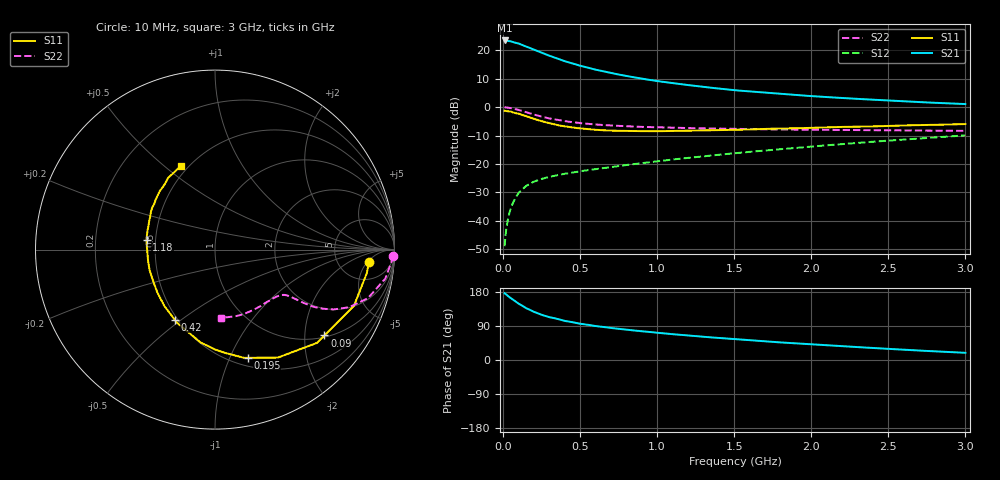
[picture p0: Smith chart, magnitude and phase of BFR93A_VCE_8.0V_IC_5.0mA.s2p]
! Infineon Technologies  Discrete & RF Semiconductors
! BFR93A
! VCE =  8.0 V,  IC =  5.0 mA
! Common Emitter S-Parameters:  Nov 2015
# GHz  S  MA  R  50
!  f  S11  S21  S12  S22
! GHz  MAG  ANG  MAG  ANG  MAG  ANG  MAG  ANG
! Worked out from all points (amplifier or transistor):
!   180 points, 10 MHz to 3 GHz, reference 50 ohm
!   highest |S21| = 23.4 dB at 10 MHz (marker M1)
!   |S21| within 3 dB of that: start of sweep to 190.1 MHz
!   unconditionally stable (mu >= 1): 777.9 MHz to 2.473 GHz
!   at 160 MHz: K = 0.33, MSG = 24.2 dB, |S12| = -27.4 dB
!   at 1.22 GHz: K = 1.11, MAG = 10.7 dB, |S12| = -17.7 dB
!   at 3 GHz: K = 0.93, MSG = 5.5 dB, |S12| = -9.9 dB
!   S11 on the Smith chart (normalised r, x): 10 MHz: 11, -6; 90 MHz: 1.05, -2.51; 195 MHz: 0.58, -1.17; 420 MHz: 0.48, -0.47; 1.18 GHz: 0.45, +0.06; 3 GHz: 0.46, +0.57
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0.01  0.8615 -4.5  14.81 176.3  0.0036 87.3  0.9907 -2.0
0.025  0.8492 -11.0  14.63 171.3  0.0085 82.1  0.9813 -4.8
0.05  0.8352 -22.0  14.3 163.1  0.0167 78.3  0.9626 -9.7
0.09  0.7751 -38.1  13.29 151.9  0.0279 70.0  0.9063 -15.9
0.1  0.7704 -42.4  13.12 148.9  0.0308 68.9  0.894 -17.6
0.15  0.6962 -59.8  11.62 136.6  0.0412 61.8  0.8125 -23.3
0.195  0.6298 -73.2  10.36 128.2  0.0482 57.7  0.7473 -26.4
0.24  0.5761 -85.0  9.231 120.9  0.0536 54.8  0.6911 -28.5
0.26  0.5568 -89.9  8.789 118.1  0.0557 53.9  0.6695 -29.2
0.3  0.5238 -98.8  7.99 113.1  0.0594 52.7  0.6322 -30.2
0.4  0.4594 -117.3  6.405 103.2  0.0673 51.5  0.5645 -31.2
0.42  0.4497 -120.0  6.182 101.9  0.0687 51.5  0.5561 -31.3
0.52  0.4161 -134.4  5.169 94.6  0.0759 51.9  0.5167 -31.7
0.6  0.3992 -144.1  4.548 89.6  0.0813 52.7  0.494 -31.9
0.7  0.3862 -153.8  3.963 84.4  0.0888 53.9  0.4743 -32.5
0.9  0.378 -170.5  3.152 75.8  0.1035 56.1  0.4488 -34.2
1.02  0.3775 -178.6  2.816 71.1  0.1131 57.0  0.4399 -35.6
1.18  0.3849 172.1  2.477 65.4  0.1265 58.2  0.4287 -38.2
1.52  0.3998 156.6  1.96 54.4  0.1562 59.3  0.4126 -44.4
2.02  0.4339 139.2  1.548 40.7  0.2046 59.0  0.3994 -55.8
2.52  0.4693 125.1  1.294 29.0  0.2597 56.5  0.3907 -69.2
3  0.5034 112.4  1.13 19.0  0.3184 52.7  0.3828 -84.7
